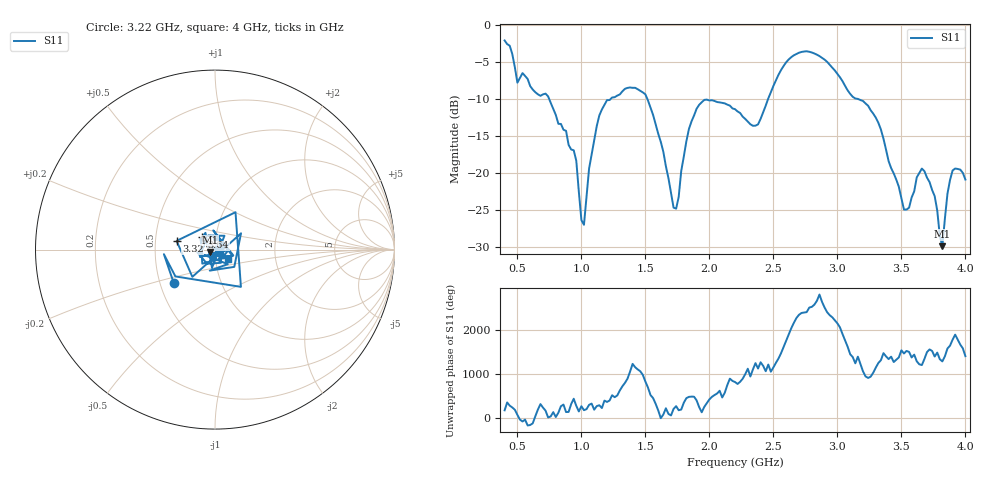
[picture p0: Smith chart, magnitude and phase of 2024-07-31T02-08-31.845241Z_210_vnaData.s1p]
!Created with skrf (http://scikit-rf.org).
# Hz S RI R 50.0
!freq ReS11 ImS11
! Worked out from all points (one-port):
!   181 points, 400 MHz to 4 GHz, reference 50 ohm
!   lowest |S11| = -29.9 dB at 3.82 GHz (marker M1), VSWR 1.07, Z = 47.1 - j1.18 ohm
!   |S11| at or under -10 dB: 749.1 MHz to 1.226 GHz (476.8 MHz wide, 48.3 % of centre); 1.516 GHz to 2.458 GHz (941.2 MHz wide, 47.4 % of centre); 3.167 GHz to end of sweep
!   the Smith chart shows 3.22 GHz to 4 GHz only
!   S11 on the Smith chart (normalised r, x): 3.22 GHz: 0.59, -0.24; 3.32 GHz: 0.64, +0.07; 3.64 GHz: 0.86, +0.12; 4 GHz: 1.15, -0.13
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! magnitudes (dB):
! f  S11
! 400 MHz  -2.0
! 500 MHz  -7.7
! 720 MHz  -9.2
! 860 MHz  -14.1
! 960 MHz  -18.3
! 1 GHz  -26.4
! 1.02 GHz  -27.0
! 1.06 GHz  -19.4
! 1.14 GHz  -12.2
! 1.3 GHz  -9.3
! 1.5 GHz  -9.3
! 1.72 GHz  -24.7
! 1.76 GHz  -23.2
! 1.84 GHz  -14.0
! 1.92 GHz  -10.7
! 2.2 GHz  -11.3
! 2.38 GHz  -13.4
! 2.66 GHz  -4.0
! 2.88 GHz  -4.4
! 3.1 GHz  -9.3
! 3.22 GHz  -10.6
! 3.32 GHz  -13.2
! 3.56 GHz  -24.7
! 3.64 GHz  -20.0
! 3.76 GHz  -23.1
! 3.82 GHz  -29.9
! 3.9 GHz  -19.6
! 4 GHz  -20.9
